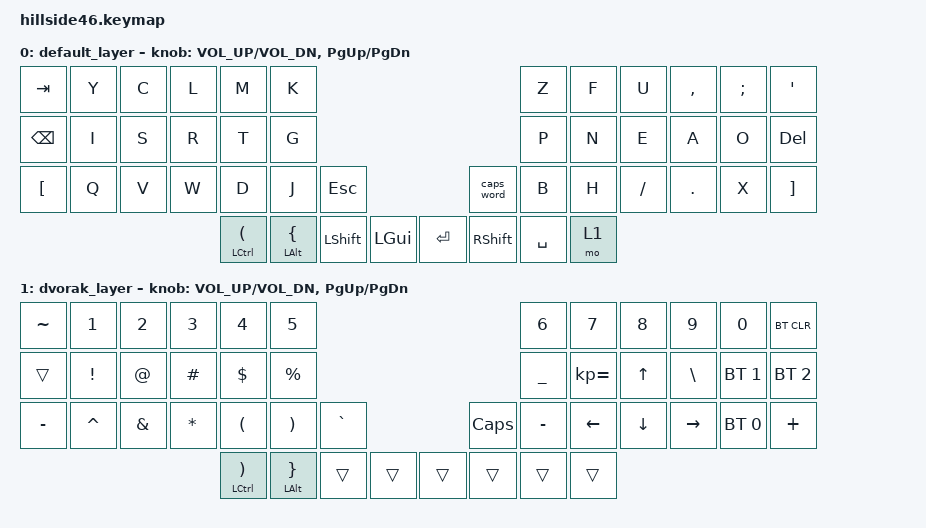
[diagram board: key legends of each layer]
/*
 * Copyright (c) 2021-2022 The ZMK Contributors
 *
 * SPDX-License-Identifier: MIT
 */

#include <behaviors.dtsi>
#include <dt-bindings/zmk/bt.h>
#include <dt-bindings/zmk/keys.h>

#define QWERTY_L 0
#define DVORAK_L 1
#define COLEMK_L 2
#define NAV_L    3
#define SYM_L    4
#define ADJ_L    5
#define Undo   LC(Z)
#define Cut    LC(X)
#define Copy   LC(C)
#define Paste  LC(V)
#define Redo   LC(Y)

/ {
    combos {
        compatible = "zmk,combos";

        one {
            bindings = <&kp NUMBER_1>;
            key-positions = <1 13>;
        };

        two {
            bindings = <&kp NUMBER_2>;
            key-positions = <2 14>;
        };

        three {
            bindings = <&kp NUMBER_3>;
            key-positions = <3 15>;
        };

        four {
            bindings = <&kp NUMBER_4>;
            key-positions = <4 16>;
        };

        five {
            bindings = <&kp NUMBER_5>;
            key-positions = <5 17>;
        };

        six {
            bindings = <&kp NUMBER_6>;
            key-positions = <6 18>;
        };

        seven {
            bindings = <&kp NUMBER_7>;
            key-positions = <7 19>;
        };

        eight {
            bindings = <&kp NUMBER_8>;
            key-positions = <8 20>;
        };

        nine {
            bindings = <&kp NUMBER_9>;
            key-positions = <9 21>;
        };

        zero {
            bindings = <&kp NUMBER_0>;
            key-positions = <10 22>;
        };
    };

    keymap {
        compatible = "zmk,keymap";

        default_layer {
            /* QWERTY
 * -------------------------------------------------------------------------------------------------------------------------------------
 * | `     |   Q   |   W   |   E   |   R   |   T   |-----------------------------------|   Y   |   U   |   I   |   O   |   P   | BKSPC |
 * | TAB   |   A   |   S   |   D   |   F   |   G   |-----------------------------------|   H   |   J   |   K   |   L   |   ;   | ENTER |
 * | CTRL  |   Z   |   X   |   C   |   V   |   B   |  ESC  |-------------------|  CAPS |   N   |   M   |   ,   |   .   |   /   |   '   |
 *                                 |  GUI  |  ALT  |SK SHFT|  Nav  |---|  Sym  | SPACE |  ALT  |  GUI  |
 */

            bindings = <
&kp TAB           &kp Y  &kp C  &kp L  &kp M                       &kp K                                                                           &kp Z      &kp F  &kp U      &kp COMMA  &kp SEMI  &kp SINGLE_QUOTE
&kp BACKSPACE     &kp I  &kp S  &kp R  &kp T                       &kp G                                                                           &kp P      &kp N  &kp E      &kp A      &kp O     &kp DELETE
&kp LEFT_BRACKET  &kp Q  &kp V  &kp W  &kp D                       &kp J                &kp ESC                                   &caps_word       &kp B      &kp H  &kp SLASH  &kp DOT    &kp X     &kp RIGHT_BRACKET
                                       &mt LCTRL LEFT_PARENTHESIS  &mt LALT LEFT_BRACE  &kp LEFT_SHIFT  &kp LEFT_GUI  &kp RETURN  &kp RIGHT_SHIFT  &kp SPACE  &mo 1
            >;

            sensor-bindings = <&inc_dec_kp C_VOL_UP C_VOL_DN &inc_dec_kp PG_UP PG_DN>;
        };

        dvorak_layer {
            /* DVORAK
 * -------------------------------------------------------------------------------------------------------------------------------------
 * | `     |   '   |   ,   |   .   |   P   |   Y   |-----------------------------------|   F   |   G   |   C   |   R   |   L   | BKSPC |
 * | TAB   |   A   |   O   |   E   |   U   |   I   |-----------------------------------|   D   |   H   |   T   |   N   |   S   | ENTER |
 * | CTRL  |   ;   |   Q   |   J   |   K   |   X   |  ESC  |-------------------| CAPS  |   B   |   M   |   W   |   V   |   Z   |   /   |
 *                                 |  GUI  |  ALT  |SK SHFT|  Nav  |---|  Sym  | SPACE |  ALT  |  GUI  |
 */

            bindings = <
&kp TILDE  &kp NUMBER_1     &kp NUMBER_2   &kp NUMBER_3  &kp NUMBER_4                 &kp NUMBER_5                                                    &kp NUMBER_6    &kp NUMBER_7  &kp NUMBER_8  &kp NUMBER_9   &kp NUMBER_0  &bt BT_CLR
&trans     &kp EXCLAMATION  &kp AT         &kp HASH      &kp DOLLAR                   &kp PERCENT                                                     &kp UNDERSCORE  &kp KP_EQUAL  &kp UP        &kp BACKSLASH  &bt BT_SEL 1  &bt BT_SEL 2
&kp MINUS  &kp CARET        &kp AMPERSAND  &kp STAR      &kp LEFT_PARENTHESIS         &kp RIGHT_PARENTHESIS  &kp GRAVE                  &kp CAPSLOCK  &kp MINUS       &kp LEFT      &kp DOWN      &kp RIGHT      &bt BT_SEL 0  &kp PLUS
                                                         &mt LCTRL RIGHT_PARENTHESIS  &mt LALT RIGHT_BRACE   &trans     &trans  &trans  &trans        &trans          &trans
            >;

            sensor-bindings = <&inc_dec_kp C_VOL_UP C_VOL_DN &inc_dec_kp PG_UP PG_DN>;
        };
    };
};
